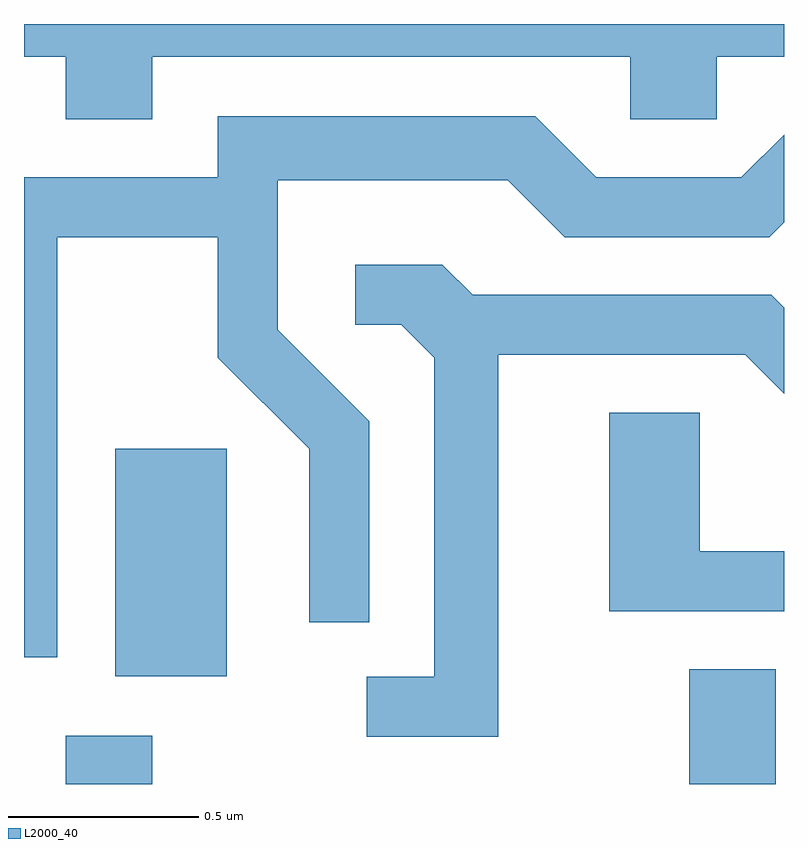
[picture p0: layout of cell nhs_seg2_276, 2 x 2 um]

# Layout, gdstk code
import gdstk
lib = gdstk.Library(unit=1e-6, precision=1e-09)
def R(c, l, rs):  # rectangles x0, y0, x1, y1
    for r in rs: c.add(gdstk.rectangle(r[:2], r[2:], *l))
def P(c, l, *ps):  # polygons
    for p in ps: c.add(gdstk.Polygon(p, *l))
L2000_40 = (2000, 40)

nhs_seg2_276 = lib.new_cell('nhs_seg2_276')
R(nhs_seg2_276, L2000_40, [(187.721,979.802,187.949,979.929), (189.361,979.802,189.589,980.104), (187.851,980.086,188.144,980.684)])
P(nhs_seg2_276, L2000_40, [(187.949,981.716),(189.206,981.716),(189.206,981.551),(189.434,981.551),(189.434,981.716),(189.611,981.716),(189.611,981.802),(187.611,981.802),(187.611,981.716),(187.721,981.716),(187.721,981.551),(187.949,981.551)],
  [(187.699,981.241),(188.121,981.241),(188.121,980.924),(188.361,980.684),(188.361,980.228),(188.519,980.228),(188.519,980.757),(188.279,980.997),(188.279,981.391),(188.884,981.391),(189.034,981.241),(189.572,981.241),(189.611,981.28),(189.611,981.511),(189.499,981.399),(189.117,981.399),(188.957,981.559),(188.121,981.559),(188.121,981.399),(187.611,981.399),(187.611,980.136),(187.699,980.136)],
  [(188.859,980.931),(189.509,980.931),(189.611,980.829),(189.611,981.055),(189.577,981.089),(188.792,981.089),(188.712,981.169),(188.483,981.169),(188.483,981.011),(188.604,981.011),(188.691,980.924),(188.691,980.084),(188.513,980.084),(188.513,979.926),(188.859,979.926)],
  [(189.611,980.414),(189.389,980.414),(189.389,980.779),(189.151,980.779),(189.151,980.256),(189.611,980.256)])

lib.write_gds('nhs_seg2_276.gds')
